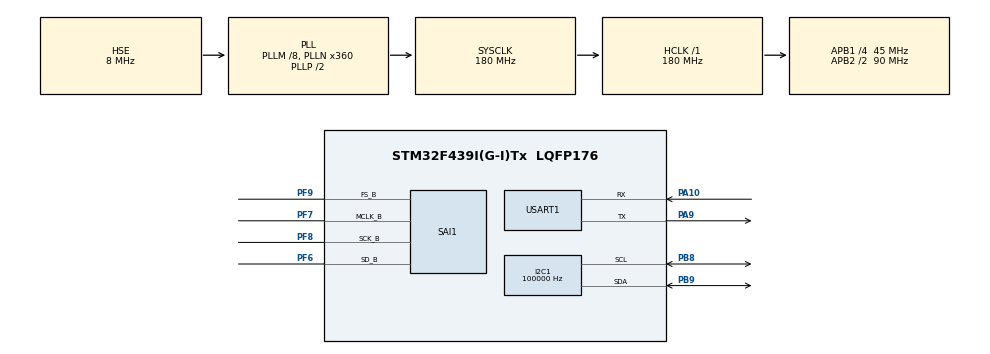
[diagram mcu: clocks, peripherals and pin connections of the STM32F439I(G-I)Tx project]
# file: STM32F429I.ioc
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Dma.Request0=SAI1_B
Dma.SAI1_B.0.Channel=DMA_CHANNEL_0
Dma.SAI1_B.0.Direction=DMA_MEMORY_TO_PERIPH
Dma.SAI1_B.0.FIFOMode=DMA_FIFOMODE_ENABLE
Dma.SAI1_B.0.FIFOThreshold=DMA_FIFO_THRESHOLD_HALFFULL
Dma.SAI1_B.0.Instance=DMA2_Stream5
Dma.SAI1_B.0.MemBurst=DMA_MBURST_SINGLE
Dma.SAI1_B.0.MemDataAlignment=DMA_MDATAALIGN_HALFWORD
Dma.SAI1_B.0.MemInc=DMA_MINC_ENABLE
Dma.SAI1_B.0.Mode=DMA_NORMAL
Dma.SAI1_B.0.PeriphBurst=DMA_PBURST_SINGLE
Dma.SAI1_B.0.PeriphDataAlignment=DMA_PDATAALIGN_HALFWORD
Dma.SAI1_B.0.PeriphInc=DMA_PINC_DISABLE
Dma.SAI1_B.0.Priority=DMA_PRIORITY_HIGH
I2C1.ClockSpeed=100000
I2C1.I2C_Mode=I2C_Standard
I2C1.OwnAddress=0
Mcu.Family=STM32F4
Mcu.Name=STM32F439I(G-I)Tx
Mcu.Package=LQFP176
NVIC.DMA2_Stream5_IRQn=true\:0\:0\:false
NVIC.PriorityGroup=NVIC_PRIORITYGROUP_4
PA10.Mode=Asynchronous
PA10.Signal=USART1_RX
PA9.Mode=Asynchronous
PA9.Signal=USART1_TX
PB8.GPIO_PuPdOD=GPIO_NOPULL
PB8.Mode=I2C
PB8.Signal=I2C1_SCL
PB9.GPIO_PuPdOD=GPIO_NOPULL
PB9.Mode=I2C
PB9.Signal=I2C1_SDA
PF6.GPIO_PuPd=GPIO_PULLUP
PF6.GPIO_Speed=GPIO_SPEED_FAST
PF6.Mode=SAI_B_MasterWithClock
PF6.Signal=SAI1_SD_B
PF7.GPIO_PuPd=GPIO_PULLDOWN
PF7.GPIO_Speed=GPIO_SPEED_FAST
PF7.Mode=SAI_B_MasterWithClock
PF7.Signal=SAI1_MCLK_B
PF8.GPIO_PuPd=GPIO_PULLUP
PF8.GPIO_Speed=GPIO_SPEED_FAST
PF8.Mode=SAI_B_MasterWithClock
PF8.Signal=SAI1_SCK_B
PF9.GPIO_PuPd=GPIO_PULLUP
PF9.GPIO_Speed=GPIO_SPEED_FAST
PF9.Mode=SAI_B_MasterWithClock
PF9.Signal=SAI1_FS_B
PH0/OSC_IN.Mode=HSE-External-Oscillator
PH0/OSC_IN.Signal=RCC_OSC_IN
PH1/OSC_OUT.Mode=HSE-External-Oscillator
PH1/OSC_OUT.Signal=RCC_OSC_OUT
ProjectManager.TargetToolchain=MDK-ARM V5
RCC.48MHZClocksFreq_Value=90000000
RCC.AHBFreq_Value=180000000
RCC.APB1CLKDivider=RCC_HCLK_DIV4
RCC.APB1Freq_Value=45000000
RCC.APB1TimFreq_Value=90000000
RCC.APB2CLKDivider=RCC_HCLK_DIV2
RCC.APB2Freq_Value=90000000
RCC.APB2TimFreq_Value=180000000
RCC.CortexFreq_Value=180000000
RCC.HCLKFreq_Value=180000000
RCC.HSE_VALUE=8000000
RCC.HSI_VALUE=16000000
RCC.LSE_VALUE=32768
RCC.PLLI2SN=429
RCC.PLLI2SR=3
RCC.PLLM=8
RCC.PLLN=360
RCC.PLLSAIDivQ=19
RCC.PLLSAIN=429
RCC.PLLSAIQ=2
RCC.PLLSourceVirtual=RCC_PLLSOURCE_HSE
RCC.SYSCLKFreq_VALUE=180000000
RCC.SYSCLKSource=RCC_SYSCLKSOURCE_PLLCLK
RCC.VCOOutputFreq_Value=360000000
SAI1.ActiveFrameLength-SAI_B_MasterWithClock=16
SAI1.AudioFrequency-SAI_B_MasterWithClock=SAI_AUDIO_FREQUENCY_22K
SAI1.ClockSource-SAI_B_MasterWithClock=SAI_CLKSOURCE_PLLSAI
SAI1.ClockStrobing-SAI_B_MasterWithClock=SAI_CLOCKSTROBING_RISINGEDGE
SAI1.DataSize-SAI_B_MasterWithClock=SAI_DATASIZE_16
SAI1.ErrorAudioFreq-SAI_B_MasterWithClock=0.22 %
SAI1.FIFOThreshold-SAI_B_MasterWithClock=SAI_FIFOTHRESHOLD_1QF
SAI1.FSDefinition-SAI_B_MasterWithClock=SAI_FS_CHANNEL_IDENTIFICATION
SAI1.FrameLength-SAI_B_MasterWithClock=32
SAI1.Instance-SAI_B_MasterWithClock=SAI$Index_Block_B
SAI1.MClockEnable-SAI_B_MasterWithClock=SAI_MASTERCLOCK_ENABLE
SAI1.NoDivider-SAI_B_MasterWithClock=SAI_MASTERDIVIDER_ENABLED
SAI1.OutputDrive-SAI_B_MasterWithClock=SAI_OUTPUTDRIVE_ENABLED
SAI1.RealAudioFreq-SAI_B_MasterWithClock=22.049 KHz
SAI1.SlotActive-SAI_B_MasterWithClock=0x00030000
SAI1.SlotNumber-SAI_B_MasterWithClock=2
SAI1.SlotSize-SAI_B_MasterWithClock=SAI_SLOTSIZE_16B
SAI1.VirtualSlotActive-SAI_B_MasterWithClock=SAI_SLOT_USERSETTING
SAI1.VirtualSlotActive0-SAI_B_MasterWithClock=true
SAI1.VirtualSlotActive1-SAI_B_MasterWithClock=true
board=STM32F429I

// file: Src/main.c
/**
  ******************************************************************************
  * File Name          : main.c
  * Description        : Main program body
  ******************************************************************************
  *
  * COPYRIGHT(c) 2015 STMicroelectronics
  *
  * Redistribution and use in source and binary forms, with or without modification,
  * are permitted provided that the following conditions are met:
  *   1. Redistributions of source code must retain the above copyright notice,
  *      this list of conditions and the following disclaimer.
  *   2. Redistributions in binary form must reproduce the above copyright notice,
  *      this list of conditions and the following disclaimer in the documentation
  *      and/or other materials provided with the distribution.
  *   3. Neither the name of STMicroelectronics nor the names of its contributors
  *      may be used to endorse or promote products derived from this software
  *      without specific prior written permission.
  *
  * THIS SOFTWARE IS PROVIDED BY THE COPYRIGHT HOLDERS AND CONTRIBUTORS "AS IS"
  * AND ANY EXPRESS OR IMPLIED WARRANTIES, INCLUDING, BUT NOT LIMITED TO, THE
  * IMPLIED WARRANTIES OF MERCHANTABILITY AND FITNESS FOR A PARTICULAR PURPOSE ARE
  * DISCLAIMED. IN NO EVENT SHALL THE COPYRIGHT HOLDER OR CONTRIBUTORS BE LIABLE
  * FOR ANY DIRECT, INDIRECT, INCIDENTAL, SPECIAL, EXEMPLARY, OR CONSEQUENTIAL
  * DAMAGES (INCLUDING, BUT NOT LIMITED TO, PROCUREMENT OF SUBSTITUTE GOODS OR
  * SERVICES; LOSS OF USE, DATA, OR PROFITS; OR BUSINESS INTERRUPTION) HOWEVER
  * CAUSED AND ON ANY THEORY OF LIABILITY, WHETHER IN CONTRACT, STRICT LIABILITY,
  * OR TORT (INCLUDING NEGLIGENCE OR OTHERWISE) ARISING IN ANY WAY OUT OF THE USE
  * OF THIS SOFTWARE, EVEN IF ADVISED OF THE POSSIBILITY OF SUCH DAMAGE.
  *
  ******************************************************************************
  */
#include "stm32f4xx_hal.h"
#include "dma.h"
#include "i2c.h"
#include "sai.h"
#include "usart.h"
#include "gpio.h"

/* USER CODE BEGIN Includes */
#include "waveDate.h"
#include "UDA1380.h"
/* USER CODE END Includes */

/* USER CODE BEGIN PV */
/* Private variables ---------------------------------------------------------*/
#define PLAY_HEADER          0x44
#define PLAY_BUFF_SIZE       0xFFFF
#define DMA_MAX(x)    (((x) <= PLAY_BUFF_SIZE)? (x):PLAY_BUFF_SIZE)

uint32_t AudioTotalSize ;         /* This variable holds the total size of the audio file */
uint32_t AudioRemSize;            /* This variable holds the remaining data in audio file */
__IO uint16_t *CurrentPos;        /* This variable holds the current position of audio pointer */

/* USER CODE END PV */

void SystemClock_Config(void);

/* USER CODE BEGIN PFP */
/* Private function prototypes -----------------------------------------------*/

/* USER CODE END PFP */

int main(void)
{

  /* MCU Configuration----------------------------------------------------------*/

  /* Reset of all peripherals, Initializes the Flash interface and the Systick. */
  HAL_Init();

  /* Configure the system clock */
  SystemClock_Config();

  /* Initialize all configured peripherals */
  MX_GPIO_Init();
  MX_DMA_Init();
  MX_I2C1_Init();
  MX_SAI1_Init();
  MX_USART1_UART_Init();

  /* USER CODE BEGIN 2 */
  printf("\r\nWelcome to use UDA1380 SAI test:\r\n");
	HAL_Delay(200);
	AudioRemSize = sizeof(WaveData)/2 - PLAY_HEADER;
	CurrentPos = (uint16_t*)WaveData + PLAY_HEADER;
	HAL_SAI_Transmit_DMA(&hsai_BlockB1, (uint8_t *)(WaveData + PLAY_HEADER), DMA_MAX(sizeof(WaveData)/2 - PLAY_HEADER));
  /* Update the remaining number of data to be played */
	AudioRemSize = AudioRemSize - PLAY_HEADER - DMA_MAX(AudioRemSize);
	/* Update the current audio pointer position */
	CurrentPos = CurrentPos + PLAY_HEADER + DMA_MAX(AudioRemSize);
	if(UDA1380_Init() == HAL_OK)
	{
		printf("UDA1380 Init OK!\r\n\r\n");
	}
	else
	{
		printf("UDA1380 Init ERORR\r\n\r\n");
	}
	printf("Data transmission bigin...\r\n\r\n");
	/* USER CODE END 2 */

  /* Infinite loop */
  while (1)
  {

  }

}

/** System Clock Configuration
*/
void SystemClock_Config(void)
{

  RCC_OscInitTypeDef RCC_OscInitStruct;
  RCC_ClkInitTypeDef RCC_ClkInitStruct;
  RCC_PeriphCLKInitTypeDef PeriphClkInitStruct;

  __PWR_CLK_ENABLE();

  __HAL_PWR_VOLTAGESCALING_CONFIG(PWR_REGULATOR_VOLTAGE_SCALE1);

  RCC_OscInitStruct.OscillatorType = RCC_OSCILLATORTYPE_HSE;
  RCC_OscInitStruct.HSEState = RCC_HSE_ON;
  RCC_OscInitStruct.PLL.PLLState = RCC_PLL_ON;
  RCC_OscInitStruct.PLL.PLLSource = RCC_PLLSOURCE_HSE;
  RCC_OscInitStruct.PLL.PLLM = 8;
  RCC_OscInitStruct.PLL.PLLN = 360;
  RCC_OscInitStruct.PLL.PLLP = RCC_PLLP_DIV2;
  RCC_OscInitStruct.PLL.PLLQ = 4;
  HAL_RCC_OscConfig(&RCC_OscInitStruct);

  HAL_PWREx_ActivateOverDrive();

  RCC_ClkInitStruct.ClockType = RCC_CLOCKTYPE_SYSCLK|RCC_CLOCKTYPE_PCLK1
                              |RCC_CLOCKTYPE_PCLK2;
  RCC_ClkInitStruct.SYSCLKSource = RCC_SYSCLKSOURCE_PLLCLK;
  RCC_ClkInitStruct.AHBCLKDivider = RCC_SYSCLK_DIV1;
  RCC_ClkInitStruct.APB1CLKDivider = RCC_HCLK_DIV4;
  RCC_ClkInitStruct.APB2CLKDivider = RCC_HCLK_DIV2;
  HAL_RCC_ClockConfig(&RCC_ClkInitStruct, FLASH_LATENCY_5);

  PeriphClkInitStruct.PeriphClockSelection = RCC_PERIPHCLK_SAI_PLLSAI;
  PeriphClkInitStruct.PLLSAI.PLLSAIN = 429;
  PeriphClkInitStruct.PLLSAI.PLLSAIQ = 2;
  PeriphClkInitStruct.PLLSAIDivQ = 19;
  HAL_RCCEx_PeriphCLKConfig(&PeriphClkInitStruct);

  HAL_SYSTICK_Config(HAL_RCC_GetHCLKFreq()/1000);

  HAL_SYSTICK_CLKSourceConfig(SYSTICK_CLKSOURCE_HCLK);

  /* SysTick_IRQn interrupt configuration */
  HAL_NVIC_SetPriority(SysTick_IRQn, 0, 0);
}

/* USER CODE BEGIN 4 */
/**
  * @brief  Tx Transfer completed callbacks.
  * @param  hsai: SAI handle
  * @retval None
  */
void HAL_SAI_TxCpltCallback(SAI_HandleTypeDef *hsai)
{
  /* Manage the remaining file size and new address offset: */

  /* Check if the end of file has been reached */
	if (AudioRemSize > 0)
	{
		/* Update the Media layer and enable it for play */
		HAL_SAI_Transmit_DMA(&hsai_BlockB1,(uint8_t *)CurrentPos, (uint16_t)(DMA_MAX(AudioRemSize)));

		/* Update the remaining number of data to be played */
		AudioRemSize = AudioRemSize - DMA_MAX(AudioRemSize);

		/* Update the current audio pointer position */
		CurrentPos = CurrentPos + DMA_MAX(AudioRemSize);

		printf("AudioRemSize:%lu\r\n",AudioRemSize);
	}
	else
	{
		AudioRemSize = sizeof(WaveData)/2 - PLAY_HEADER;
		CurrentPos = (uint16_t*)WaveData + PLAY_HEADER;
		HAL_SAI_Transmit_DMA(&hsai_BlockB1, (uint8_t *)CurrentPos, DMA_MAX(AudioRemSize));
		/* Update the remaining number of data to be played */
		AudioRemSize = AudioRemSize - DMA_MAX(AudioRemSize);

		/* Update the current audio pointer position */
		CurrentPos = CurrentPos + DMA_MAX(AudioRemSize);
		printf("Data transmission to complete.\r\n\r\n");
	}
}
/* USER CODE END 4 */

/************************ (C) COPYRIGHT STMicroelectronics *****END OF FILE****/
